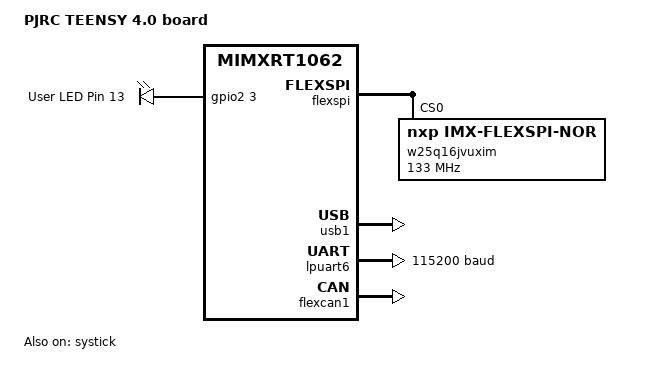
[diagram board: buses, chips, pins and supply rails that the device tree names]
/*
 * Copyright (c) 2020, Bernhard Kraemer
 *
 * SPDX-License-Identifier: Apache-2.0
 */

/dts-v1/;

#include <nxp/nxp_rt1060.dtsi>
#include "teensy4-pinctrl.dtsi"
#include <freq.h>
#include <mem.h>

/ {
	model = "PJRC TEENSY 4.0 board";
	compatible = "nxp,mimxrt1062";

	aliases {
		led0 = &board_led;
	};

	chosen {
		zephyr,flash-controller = &w25q16jvuxim;
		zephyr,flash = &w25q16jvuxim;
		zephyr,sram = &ocram;
		zephyr,itcm = &itcm;
		zephyr,dtcm = &dtcm;
		zephyr,console = &lpuart6; /* Teensy Pins 0(RX1) 1(TX1) */
		zephyr,shell-uart = &lpuart6;
		zephyr,canbus = &flexcan1; /* Teensy Pins 23(CRX1) 22(CTX1) */
	};

	leds {
		compatible = "gpio-leds";

		board_led: led-1 {
			gpios = <&gpio2 3 GPIO_ACTIVE_HIGH>;
			label = "User LED Pin 13";
		};
	};
};

&flexspi {
	status = "okay";

	reg = <0x402a8000 0x4000>, <0x60000000 DT_SIZE_M(2)>;

	/* WINBOND flash memory*/
	w25q16jvuxim: w25q16jvuxim@0 {
		compatible = "nxp,imx-flexspi-nor";
		size = <DT_SIZE_M(2 * 8)>;
		reg = <0>;
		spi-max-frequency = <DT_FREQ_M(133)>;
		status = "okay";
		jedec-id = [ef 40 15];

		erase-block-size = <4096>;
		write-block-size = <1>;
	};
};

zephyr_udc0: &usb1 {
	status = "okay";
};

&lpuart6 {
	status = "okay";
	current-speed = <115200>;
};

&edma0 {
	status = "okay";
};

&edma0 {
	status = "okay";
};

&flexcan1 {
	pinctrl-0 = <&pinmux_flexcan1>;
	pinctrl-names = "default";
	status = "okay";
};

&flexcan2 {
	pinctrl-0 = <&pinmux_flexcan2>;
	pinctrl-names = "default";
};

&flexcan3 {
	pinctrl-0 = <&pinmux_flexcan3>;
	pinctrl-names = "default";
};

&lpi2c1 {
	pinctrl-0 = <&pinmux_lpi2c1>;
	pinctrl-names = "default";
};

&lpi2c3 {
	pinctrl-0 = <&pinmux_lpi2c3>;
	pinctrl-names = "default";
};

&lpi2c4 {
	pinctrl-0 = <&pinmux_lpi2c4>;
	pinctrl-names = "default";
};

&lpspi3 {
	pinctrl-0 = <&pinmux_lpspi3>;
	pinctrl-names = "default";
};

&lpspi4 {
	pinctrl-0 = <&pinmux_lpspi4>;
	pinctrl-names = "default";
};

&lpuart1 {
	pinctrl-0 = <&pinmux_lpuart1>;
	pinctrl-1 = <&pinmux_lpuart1_sleep>;
	pinctrl-names = "default", "sleep";
};

&lpuart2 {
	pinctrl-0 = <&pinmux_lpuart2>;
	pinctrl-1 = <&pinmux_lpuart2_sleep>;
	pinctrl-names = "default", "sleep";
};

&lpuart3 {
	pinctrl-0 = <&pinmux_lpuart3>;
	pinctrl-1 = <&pinmux_lpuart3_sleep>;
	pinctrl-names = "default", "sleep";
};

&lpuart4 {
	pinctrl-0 = <&pinmux_lpuart4>;
	pinctrl-1 = <&pinmux_lpuart4_sleep>;
	pinctrl-names = "default", "sleep";
};

&lpuart5 {
	pinctrl-0 = <&pinmux_lpuart5>;
	pinctrl-1 = <&pinmux_lpuart5_sleep>;
	pinctrl-names = "default", "sleep";
};

&lpuart6 {
	pinctrl-0 = <&pinmux_lpuart6>;
	pinctrl-1 = <&pinmux_lpuart6_sleep>;
	pinctrl-names = "default", "sleep";
};

&lpuart7 {
	pinctrl-0 = <&pinmux_lpuart7>;
	pinctrl-1 = <&pinmux_lpuart7_sleep>;
	pinctrl-names = "default", "sleep";
};

&lpuart8 {
	pinctrl-0 = <&pinmux_lpuart8>;
	pinctrl-1 = <&pinmux_lpuart8_sleep>;
	pinctrl-names = "default", "sleep";
};

&usdhc1 {
	pinctrl-0 = <&pinmux_usdhc1>;
	pinctrl-1 = <&pinmux_usdhc1_slow>;
	pinctrl-2 = <&pinmux_usdhc1_med>;
	pinctrl-3 = <&pinmux_usdhc1_fast>;
	pinctrl-names = "default", "slow", "med", "fast";
};

&systick {
	status = "okay";
};
